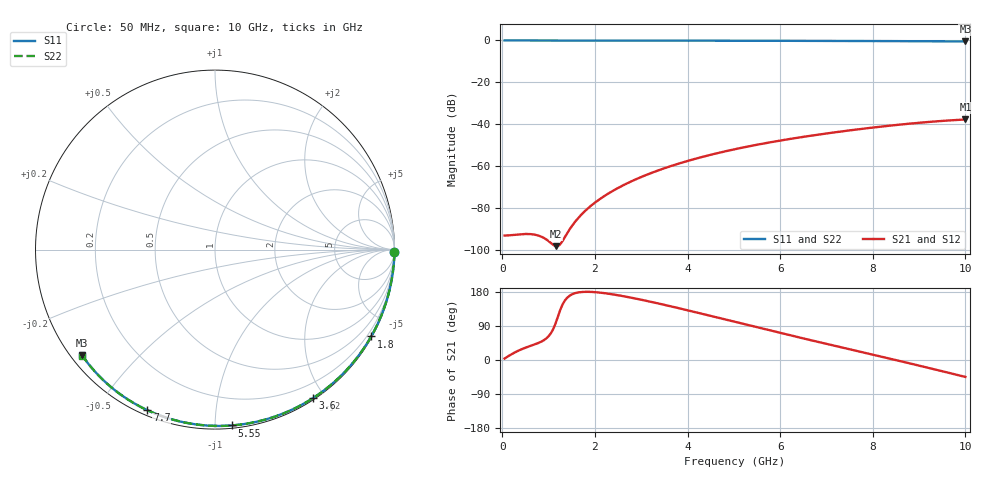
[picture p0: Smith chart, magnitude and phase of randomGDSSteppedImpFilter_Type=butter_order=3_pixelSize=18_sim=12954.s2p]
! freq	dB(S11)	phase(S11)	dB(S12)	phase(S12)
!  dB(S21)	phase(S21)	dB(S22)	phase(S22)
!S-par simulation data
#  GHz  S  DB  R 50
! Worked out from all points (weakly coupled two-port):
!   200 points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, 50 MHz to 10 GHz, reference 50 ohm
!   highest |S21| = -37.76 dB at 10 GHz (marker M1); lowest = -98.3 dB at 1.15 GHz (marker M2)
!   lowest |S11| = -0.5 dB at 10 GHz (marker M3), VSWR 36.11, Z = 1.55 - j17.5 ohm
!   |S11| at or under -10 dB: nowhere
!   |S22| runs from -0.5 to 0.0 dB; largest |S21 - S12| = 0
!   S11 on the Smith chart (normalised r, x): 50 MHz: open; 1.8 GHz: 0.03, -3.86; 3.6 GHz: 0.02, -1.85; 5.55 GHz: 0.02, -1.10; 7.7 GHz: 0.02, -0.66; 10 GHz: 0.03, -0.35
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0.05  -0.00 -0.8  -93.22 3.9  -93.22 3.9  -0.00 -0.8
0.6  -0.01 -9.8  -92.51 36.9  -92.51 36.9  -0.01 -9.8
1.15  -0.02 -18.7  -98.28 96.3  -98.28 96.3  -0.02 -18.7
1.75  -0.04 -28.3  -82.27 179.7  -82.27 179.7  -0.04 -28.3
1.8  -0.04 -29.1  -81.21 180.0  -81.21 180.0  -0.04 -29.0
1.85  -0.04 -29.9  -80.21 180.0  -80.21 180.0  -0.04 -29.8
2.05  -0.04 -33.0  -76.66 178.5  -76.66 178.5  -0.04 -33.0
2.2  -0.05 -35.4  -74.39 176.5  -74.39 176.5  -0.05 -35.3
2.55  -0.05 -40.8  -69.87 169.8  -69.87 169.8  -0.05 -40.8
2.95  -0.06 -46.9  -65.70 160.3  -65.70 160.3  -0.06 -46.9
3.4  -0.07 -53.7  -61.82 148.4  -61.82 148.4  -0.07 -53.7
3.6  -0.08 -56.7  -60.31 142.8  -60.31 142.8  -0.08 -56.7
3.9  -0.08 -61.1  -58.23 134.1  -58.23 134.1  -0.08 -61.1
4.3  -0.09 -67.0  -55.75 122.3  -55.75 122.3  -0.09 -66.9
5.05  -0.12 -77.6  -51.82 99.8  -51.82 99.8  -0.12 -77.6
5.55  -0.14 -84.5  -49.61 84.9  -49.61 84.9  -0.14 -84.5
6.1  -0.16 -92.0  -47.46 68.6  -47.46 68.6  -0.16 -91.9
6.7  -0.19 -99.9  -45.39 51.2  -45.39 51.2  -0.19 -99.9
7.7  -0.26 -112.8  -42.41 22.7  -42.41 22.7  -0.26 -112.7
8.35  -0.31 -121.0  -40.75 4.1  -40.75 4.1  -0.31 -120.9
9.2  -0.39 -131.6  -38.95 -20.7  -38.95 -20.7  -0.39 -131.5
10  -0.48 -141.5  -37.76 -44.7  -37.76 -44.7  -0.48 -141.4
